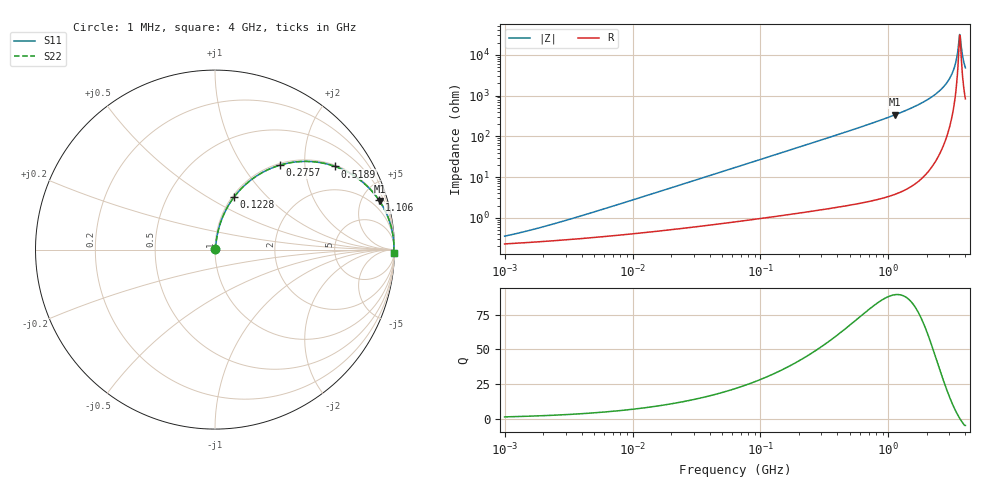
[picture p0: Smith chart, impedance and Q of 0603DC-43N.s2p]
# MHz  S  MA  R  50
!Freq  MagS11  AngS11  MagS21  AngS21  MagS12  AngS12  MagS22  AngS22
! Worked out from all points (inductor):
!   801 points, 1 MHz to 4 GHz, reference 50 ohm
!   read as one part in series: L = 43 nH near 3.261 MHz
!   highest Q = 89.5 at 1.129 GHz (marker M1), where L = 47.6 nH
!   self-resonance near 3.606 GHz
!   S11 on the Smith chart (normalised r, x): 1 MHz: 1.00, +0.01; 122.8 MHz: 1.02, +0.66; 275.7 MHz: 1.03, +1.50; 518.9 MHz: 1.04, +2.86; 1.106 GHz: 1.07, +6.59; 4 GHz: 18, -95
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1  0.003527 49.7  0.9977 -0.2  0.9977 -0.2  0.003527 49.7
4.011853  0.01124 73.5  0.9969 -0.6  0.9969 -0.6  0.01124 73.5
15.92896  0.04305 81.3  0.9944 -2.5  0.9944 -2.5  0.04305 81.3
63.90467  0.1691 77.6  0.9779 -9.7  0.9779 -9.7  0.1691 77.6
122.799  0.3124 70.0  0.9402 -18.2  0.9402 -18.2  0.3124 70.0
253.7319  0.5619 54.6  0.8155 -34.2  0.8155 -34.2  0.5619 54.6
275.6739  0.5939 52.4  0.7926 -36.4  0.7926 -36.4  0.5939 52.4
518.863  0.8142 34.7  0.5688 -54.5  0.5688 -54.5  0.8142 34.7
1007.436  0.9438 18.7  0.3199 -70.7  0.3199 -70.7  0.9438 18.7
1105.963  0.954 16.8  0.2894 -72.5  0.2894 -72.5  0.954 16.8
1129.135  0.956 16.4  0.2828 -72.9  0.2828 -72.9  0.956 16.4
1915.919  0.9885 7.9  0.1374 -81.2  0.1374 -81.2  0.9885 7.9
2308.998  0.9935 5.4  0.09443 -83.3  0.09443 -83.3  0.9935 5.4
2669.682  0.9958 3.6  0.06295 -84.4  0.06295 -84.4  0.9958 3.6
2961.32  0.9967 2.4  0.04123 -84.3  0.04123 -84.3  0.9967 2.4
3184.222  0.9971 1.5  0.0263 -82.8  0.0263 -82.8  0.9971 1.5
3353.638  0.9971 0.9  0.01579 -79.0  0.01579 -79.0  0.9971 0.9
3532.068  0.997 0.3  0.005788 -58.8  0.005788 -58.8  0.997 0.3
3606.071  0.9969 0.0  0.003147 -13.6  0.003147 -13.6  0.9969 0.0
3719.992  0.9968 -0.3  0.006447 59.9  0.006447 59.9  0.9968 -0.3
3877.504  0.9965 -0.8  0.01446 75.6  0.01446 75.6  0.9965 -0.8
4000  0.9962 -1.2  0.02071 78.9  0.02071 78.9  0.9962 -1.2
